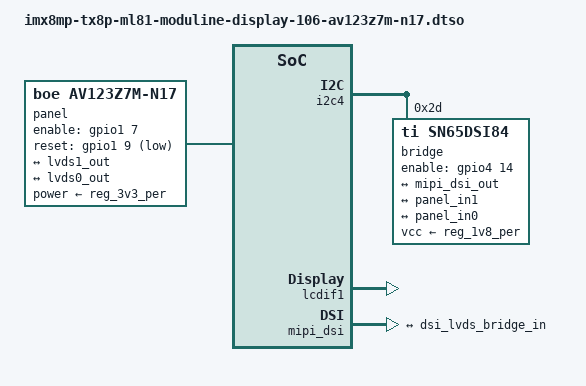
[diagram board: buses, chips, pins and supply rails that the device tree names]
// SPDX-License-Identifier: (GPL-2.0 OR MIT)
/*
 * Copyright 2025 GOcontroll B.V.
 * Author: Maud Spierings <maudspierings@gocontroll.com>
 */

#include <dt-bindings/gpio/gpio.h>

#include "imx8mp-pinfunc.h"

/dts-v1/;
/plugin/;

&{/} {
	model = "GOcontroll Moduline Display with BOE av123z7m-n17 display";

	panel {
		compatible = "boe,av123z7m-n17";
		enable-gpios = <&gpio1 7 GPIO_ACTIVE_HIGH>;
		pinctrl-0 = <&pinctrl_panel>;
		pinctrl-names = "default";
		power-supply = <&reg_3v3_per>;
		reset-gpios = <&gpio1 9 GPIO_ACTIVE_LOW>;

		ports {
			#address-cells = <1>;
			#size-cells = <0>;

			port@0 {
				reg = <0>;
				dual-lvds-odd-pixels;

				panel_in0: endpoint {
					remote-endpoint = <&lvds1_out>;
				};
			};

			port@1 {
				reg = <1>;
				dual-lvds-even-pixels;

				panel_in1: endpoint {
					remote-endpoint = <&lvds0_out>;
				};
			};
		};
	};
};

&i2c4 {
	#address-cells = <1>;
	#size-cells = <0>;

	/* sn65dsi85 */
	bridge@2d {
		compatible = "ti,sn65dsi84";
		reg = <0x2d>;
		enable-gpios = <&gpio4 14 GPIO_ACTIVE_HIGH>;
		pinctrl-0 = <&pinctrl_lvds_bridge>;
		pinctrl-names = "default";
		vcc-supply = <&reg_1v8_per>;

		ports {
			#address-cells = <1>;
			#size-cells = <0>;

			port@0 {
				reg = <0>;

				dsi_lvds_bridge_in: endpoint {
					data-lanes = <1 2 3 4>;
					remote-endpoint = <&mipi_dsi_out>;
				};
			};

			port@2 {
				reg = <2>;

				lvds0_out: endpoint {
					remote-endpoint = <&panel_in1>;
				};
			};

			port@3 {
				reg = <3>;

				lvds1_out: endpoint {
					remote-endpoint = <&panel_in0>;
				};
			};
		};
	};

	/* max25014 @ 0x6f */
};

&iomuxc {
	pinctrl_lvds_bridge: lvdsbridgegrp {
		fsl,pins = <
			MX8MP_IOMUXC_SAI1_TXD2__GPIO4_IO14
				MX8MP_DSE_X1
		>;
	};

	pinctrl_panel: panelgrp {
		fsl,pins = <
			MX8MP_IOMUXC_GPIO1_IO07__GPIO1_IO07
				MX8MP_DSE_X1
			MX8MP_IOMUXC_GPIO1_IO09__GPIO1_IO09
				MX8MP_DSE_X1
		>;
	};
};

&lcdif1 {
	status = "okay";
};

&mipi_dsi {
	/*
	 * burst has to be at least 2x dsi clock that the sn65dsi85 expects
	 * display pixelclock * bpp / lanes / 2 = dsi clock
	 * 88.000.000 * 24 / 4 / 2 = 264.000.000
	 * range gets rounded up to 265.000.000 - 270.000.000
	 * 267.500.000 * 2 = 535.000.000
	 */
	samsung,burst-clock-frequency = <535000000>;
	samsung,esc-clock-frequency = <12000000>;
	status = "okay";

	ports {
		port@1 {
			mipi_dsi_out: endpoint {
				data-lanes = <1 2 3 4>;
				remote-endpoint = < &dsi_lvds_bridge_in>;
			};
		};
	};
};
